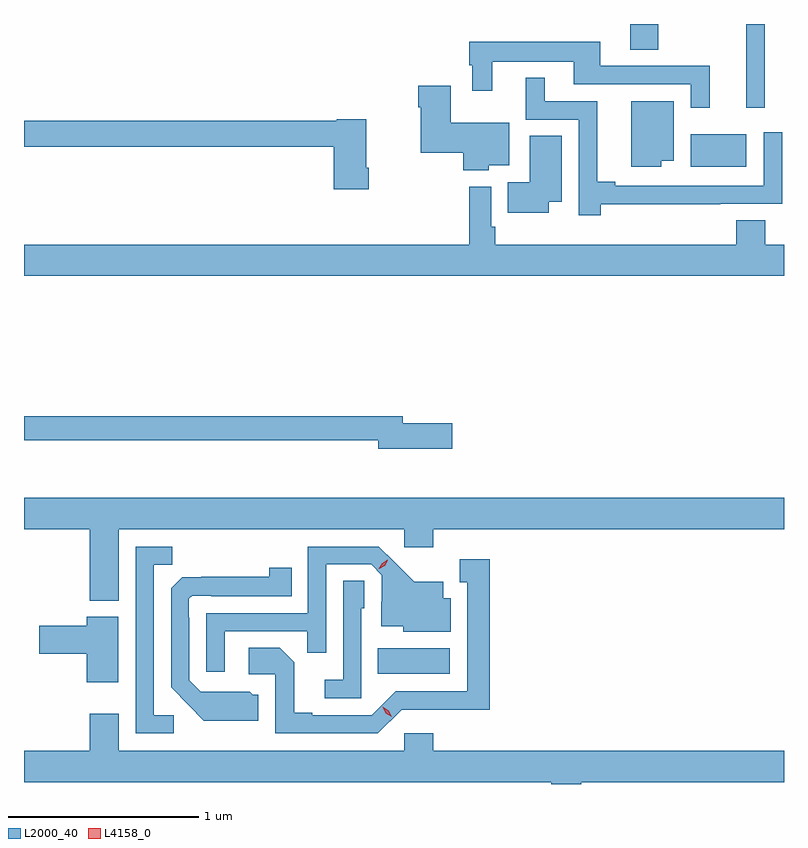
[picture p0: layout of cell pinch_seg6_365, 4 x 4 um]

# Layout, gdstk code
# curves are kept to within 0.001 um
import gdstk
lib = gdstk.Library(unit=1e-6, precision=1e-09)
def R(c, l, rs):  # rectangles x0, y0, x1, y1
    for r in rs: c.add(gdstk.rectangle(r[:2], r[2:], *l))
def P(c, l, *ps):  # polygons
    for p in ps: c.add(gdstk.Polygon(p, *l))
L2000_40 = (2000, 40)
L4158_0 = (4158, 0)

pinch_seg6_365 = lib.new_cell('pinch_seg6_365')
R(pinch_seg6_365, L2000_40, [(635.98,950.57,636.361,950.704), (637.628,953.24,637.921,953.41), (637.919,953.55,638.018,953.99), (637.31,953.854,637.458,953.99)])
P(pinch_seg6_365, L2000_40, [(637.727,953.769),(637.153,953.769),(637.153,953.896),(636.462,953.896),(636.462,953.772),(636.479,953.772),(636.479,953.64),(636.583,953.64),(636.583,953.792),(637.013,953.792),(637.013,953.673),(637.629,953.673),(637.629,953.55),(637.727,953.55)],
  [(637.154,953.042),(637.784,953.042),(637.784,953.043),(638.109,953.043),(638.109,953.419),(638.013,953.419),(638.013,953.139),(637.231,953.139),(637.231,953.159),(637.136,953.159),(637.136,953.583),(636.859,953.583),(636.859,953.707),(636.761,953.707),(636.761,953.487),(637.038,953.487),(637.038,952.983),(637.154,952.983)],
  [(636.564,953.246),(636.673,953.246),(636.673,953.47),(636.364,953.47),(636.364,953.665),(636.194,953.665),(636.194,953.552),(636.206,953.552),(636.206,953.312),(636.431,953.312),(636.431,953.219),(636.564,953.219)],
  [(637.474,953.27),(637.54,953.27),(637.54,953.584),(637.316,953.584),(637.316,953.24),(637.474,953.24)],
  [(635.933,953.233),(635.92,953.233),(635.92,953.488),(635.766,953.488),(635.766,953.48),(634.119,953.48),(634.119,953.344),(635.75,953.344),(635.75,953.121),(635.933,953.121)],
  [(636.88,953.054),(636.949,953.054),(636.949,953.402),(636.782,953.402),(636.782,953.158),(636.664,953.158),(636.664,952.997),(636.88,952.997)],
  [(638.119,952.828),(638.02,952.828),(638.02,952.958),(637.868,952.958),(637.868,952.828),(636.599,952.828),(636.599,952.924),(636.579,952.924),(636.579,953.134),(636.463,953.134),(636.463,952.828),(634.119,952.828),(634.119,952.664),(638.119,952.664)],
  [(636.373,951.89),(636.112,951.89),(636.112,951.926),(634.119,951.926),(634.119,951.798),(635.984,951.798),(635.984,951.755),(636.373,951.755)],
  [(634.618,951.332),(636.12,951.332),(636.12,951.237),(636.272,951.237),(636.272,951.332),(638.119,951.332),(638.119,951.496),(634.119,951.496),(634.119,951.332),(634.466,951.332),(634.466,950.954),(634.618,950.954)],
  [(634.906,950.352),(634.803,950.352),(634.803,951.145),(634.899,951.145),(634.899,951.24),(634.707,951.24),(634.707,950.256),(634.906,950.256)],
  [(635.175,950.793),(635.611,950.793),(635.611,950.68),(635.709,950.68),(635.709,951.147),(635.946,951.147),(636.003,951.09),(636.003,950.948),(635.999,950.948),(635.999,950.819),(636.114,950.819),(636.114,950.792),(636.364,950.792),(636.364,950.968),(636.325,950.968),(636.325,951.055),(636.173,951.055),(635.986,951.24),(635.613,951.24),(635.613,950.889),(635.079,950.889),(635.079,950.58),(635.175,950.58)],
  [(636.108,950.382),(636.571,950.381),(636.571,951.172),(636.413,951.172),(636.413,951.051),(636.452,951.051),(636.452,950.478),(636.075,950.478),(635.949,950.352),(635.635,950.352),(635.635,950.365),(635.541,950.365),(635.541,950.632),(635.465,950.708),(635.301,950.708),(635.301,950.568),(635.442,950.568),(635.442,950.256),(635.982,950.256)],
  [(635.353,950.46),(635.322,950.46),(635.306,950.476),(635.049,950.475),(634.989,950.535),(634.989,950.864),(634.986,950.864),(634.986,950.964),(635.004,950.982),(635.104,950.982),(635.104,950.979),(635.528,950.979),(635.528,951.127),(635.41,951.127),(635.41,951.08),(634.952,951.079),(634.893,951.02),(634.893,950.498),(635.065,950.324),(635.353,950.324)],
  [(635.895,950.916),(635.91,950.916),(635.91,951.059),(635.799,951.059),(635.799,950.539),(635.703,950.539),(635.703,950.442),(635.895,950.442)],
  [(634.615,950.869),(634.448,950.869),(634.448,950.822),(634.2,950.822),(634.2,950.675),(634.448,950.675),(634.448,950.526),(634.615,950.526)],
  [(637.053,950),(638.119,950),(638.119,950.164),(636.272,950.164),(636.272,950.257),(636.12,950.257),(636.12,950.164),(634.618,950.164),(634.618,950.359),(634.466,950.359),(634.466,950.164),(634.119,950.164),(634.119,950),(636.893,950),(636.893,949.99),(637.053,949.99)])
P(pinch_seg6_365, L4158_0, [(636.055,950.344),(636.023,950.363),(636.006,950.395),(636.006,950.396),(636.006,950.396),(636.038,950.376),(636.055,950.344),(636.055,950.344)],
  [(635.987,951.122),(635.987,951.122),(636.004,951.152),(636.034,951.169),(636.034,951.169),(636.034,951.168),(636.018,951.138),(635.988,951.122)])

lib.write_gds('pinch_seg6_365.gds')
